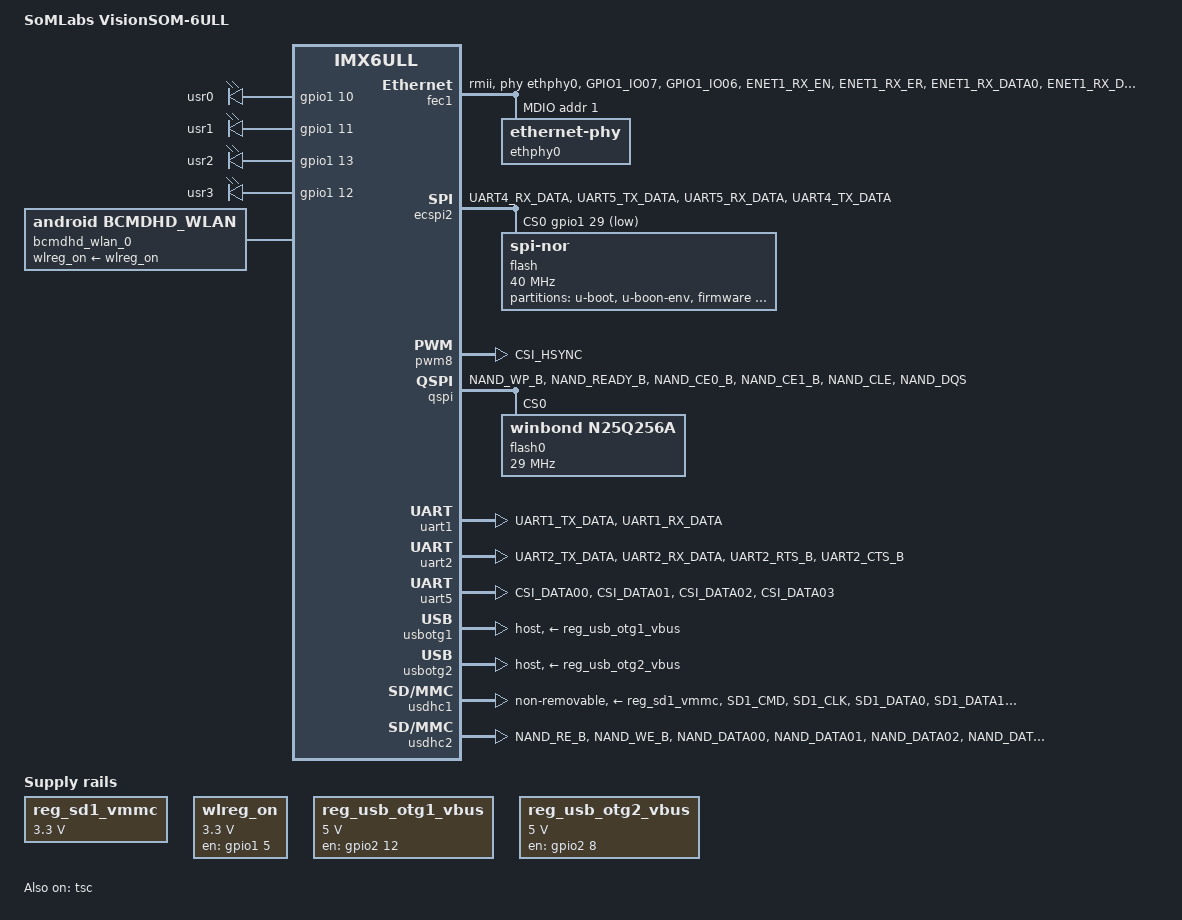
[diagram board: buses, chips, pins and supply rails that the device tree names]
/*
 * Copyright (C) 2015 Freescale Semiconductor, Inc.
 *
 * This program is free software; you can redistribute it and/or modify
 * it under the terms of the GNU General Public License version 2 as
 * published by the Free Software Foundation.
 */

/dts-v1/;

#include <dt-bindings/input/input.h>
#include "imx6ull.dtsi"

/ {
	model = "SoMLabs VisionSOM-6ULL";
	compatible = "fsl,imx6ull-14x14-evk", "fsl,imx6ull";

	chosen {
		stdout-path = &uart1;
	};

	leds {
		compatible = "gpio-leds";

		usr0 {
				label = "usr0";
				gpios = <&gpio1 10 GPIO_ACTIVE_HIGH>;
				linux,default-trigger = "heartbeat";
		};
	  
		usr1 {
				label = "usr1";
				gpios = <&gpio1 11 GPIO_ACTIVE_HIGH>;
				linux,default-trigger = "mmc0";
		};

		usr2 {
				label = "usr2";
				gpios = <&gpio1 13 GPIO_ACTIVE_HIGH>;
				linux,default-trigger = "mmc1";
		};

		usr3 {
				label = "usr3";
				gpios = <&gpio1 12 GPIO_ACTIVE_HIGH>;
		};
			
	};

/*
	backlight {
		compatible = "pwm-backlight";
		pwms = <&pwm8 0 5000000>;
		brightness-levels = <0 4 8 16 32 64 128 255>;
		default-brightness-level = <6>;
//		status = "okay";
	};
*/
	pxp_v4l2 {
		compatible = "fsl,imx6ul-pxp-v4l2", "fsl,imx6sx-pxp-v4l2", "fsl,imx6sl-pxp-v4l2";
		status = "okay";
	};

	regulators {
		compatible = "simple-bus";
		#address-cells = <1>;
		#size-cells = <0>;

		reg_sd1_vmmc: regulator@1 {
			compatible = "regulator-fixed";
			regulator-name = "VSD_3V3";
			regulator-min-microvolt = <3300000>;
			regulator-max-microvolt = <3300000>;
			enable-active-high;
			regulator-always-on;
		};

		wlreg_on: fixedregulator@100 {
			compatible = "regulator-fixed";
			regulator-min-microvolt = <3300000>;
			regulator-max-microvolt = <3300000>;
			regulator-name = "wlreg_on";
			gpio = <&gpio1 5 0>;
			startup-delay-us = <100>;
			enable-active-high;
		};
/*
		btreg_on: fixedregulator@101 {
			compatible = "regulator-fixed";
			regulator-min-microvolt = <3300000>;
			regulator-max-microvolt = <3300000>;
			regulator-name = "btreg_on";
			gpio = <&gpio4 17 0>;		//todo
			startup-delay-us = <100>;
			enable-active-high;
		};
*/
		reg_usb_otg1_vbus: regulator@2 {
			compatible = "regulator-fixed";
			reg = <2>;
			pinctrl-names = "default";
			pinctrl-0 = <&pinctrl_usb_otg1>;
			regulator-name = "usb_otg1_vbus";
			regulator-min-microvolt = <5000000>;
			regulator-max-microvolt = <5000000>;
			gpio = <&gpio2 12 GPIO_ACTIVE_HIGH>;
			enable-active-high;
		};

		reg_usb_otg2_vbus: regulator@3 {
			compatible = "regulator-fixed";
			reg = <3>;
			pinctrl-names = "default";
			pinctrl-0 = <&pinctrl_usb_otg2>;
			regulator-name = "usb_otg2_vbus";
			regulator-min-microvolt = <5000000>;
			regulator-max-microvolt = <5000000>;
			gpio = <&gpio2 8 GPIO_ACTIVE_HIGH>;
			enable-active-high;
		};


	};

	bcmdhd_wlan_0: bcmdhd_wlan@0 {
		compatible = "android,bcmdhd_wlan";
		/*gpios = <&gpio2 17 0>; //wifi_wake_host*/
		wlreg_on-supply = <&wlreg_on>;
	};
	
};

&cpu0 {
	arm-supply = <&reg_arm>;
	soc-supply = <&reg_soc>;
};

&clks {
	assigned-clocks = <&clks IMX6UL_CLK_PLL4_AUDIO_DIV>;
	assigned-clock-rates = <786432000>;
};

&fec1 {
	pinctrl-names = "default";
	pinctrl-0 = <&pinctrl_enet1>;
	phy-mode = "rmii";
	phy-handle = <&ethphy0>;
	status = "okay";
	
	mdio {
		#address-cells = <1>;
		#size-cells = <0>;

		ethphy0: ethernet-phy@1 {
			reg = <1>;
			micrel,led-mode = <1>;
			clocks = <&clks IMX6UL_CLK_ENET2_REF>;
			clock-names = "rmii-ref";
		};
	};
	
};

&ecspi2 {
	pinctrl-names = "default";
	pinctrl-0 = <&pinctrl_ecspi2>;
	cs-gpios = <
		&gpio1 29 GPIO_ACTIVE_LOW
	>;
	status = "okay";

	flash@0 {
		#address-cells = <1>;
		#size-cells = <1>;
		status = "okay";
		compatible = "jedec,spi-nor";
		spi-max-frequency = <40000000>;
		reg = <0>;

		partition@0 {
			label = "u-boot";
			reg = <0x000000 0x0c0000>;
		};
		partition@1 {
			label = "u-boon-env";
			reg = <0x0c0000 0x040000>;
		};
		partition@2 {
			label = "firmware";
			reg = <0x100000 0xF00000>;
		};
		partition@3 {
			label = "factory";
			reg = <0x000000 0x1000000>;
		};

	};
};

&gpc {
	fsl,cpu_pupscr_sw2iso = <0x1>;
	fsl,cpu_pupscr_sw = <0x0>;
	fsl,cpu_pdnscr_iso2sw = <0x1>;
	fsl,cpu_pdnscr_iso = <0x1>;
	fsl,ldo-bypass = <0>; /* DCDC, ldo-enable */
};

/*
&i2c1 {
	clock-frequency = <100000>;
	pinctrl-names = "default";
	pinctrl-0 = <&pinctrl_i2c1>;
	//status = "okay";

};

&i2c2 {
	clock_frequency = <100000>;
	pinctrl-names = "default";
	pinctrl-0 = <&pinctrl_i2c2>;
	//status = "okay";
};
*/

&iomuxc {
	pinctrl-names = "default";
	pinctrl-0 = <&pinctrl_hog_1>;
	imx6ul-evk {
		pinctrl_hog_1: hoggrp-1 {
			fsl,pins = <
				MX6UL_PAD_JTAG_MOD__GPIO1_IO10		0x17099	/* LED 0 */
				MX6UL_PAD_JTAG_TMS__GPIO1_IO11		0x17099	/* LED 1 */
				MX6UL_PAD_JTAG_TDI__GPIO1_IO13		0x17099	/* LED 2 */
				MX6UL_PAD_JTAG_TDO__GPIO1_IO12		0x17099	/* LED 3 */

				/* MC60E module pwr control GPIOs */
				MX6UL_PAD_ENET2_TX_DATA0__GPIO2_IO11	0x17059	/* modem ONKEY signal */
				MX6UL_PAD_ENET2_RX_DATA1__GPIO2_IO09	0x17059	/* Dc/DC enable signal */

				/* MX6UL_PAD_ENET2_TX_DATA1__USB_OTG2_PWR	0x17099
				MX6UL_PAD_ENET2_RX_DATA0__USB_OTG1_PWR	0x17099
				*/
			>;
		};

		pinctrl_enet1: enet1grp {
			fsl,pins = <
				MX6UL_PAD_GPIO1_IO07__ENET1_MDC		0x1b0b0
				MX6UL_PAD_GPIO1_IO06__ENET1_MDIO	0x1F829

				MX6UL_PAD_ENET1_RX_EN__ENET1_RX_EN	0x1b0b0
				MX6UL_PAD_ENET1_RX_ER__ENET1_RX_ER	0x1b0b0
				MX6UL_PAD_ENET1_RX_DATA0__ENET1_RDATA00	0x1b0b0
				MX6UL_PAD_ENET1_RX_DATA1__ENET1_RDATA01	0x1b0b0
				MX6UL_PAD_ENET1_TX_EN__ENET1_TX_EN	0x1b0b0
				MX6UL_PAD_ENET1_TX_DATA0__ENET1_TDATA00	0x1b0b0
				MX6UL_PAD_ENET1_TX_DATA1__ENET1_TDATA01	0x1b0b0
				MX6UL_PAD_ENET1_TX_CLK__ENET1_REF_CLK1	0x400010a9
			>;
		};

		/*
		pinctrl_i2c1: i2c1grp {
			fsl,pins = <
				MX6UL_PAD_UART4_TX_DATA__I2C1_SCL 0x4001b8b0
				MX6UL_PAD_UART4_RX_DATA__I2C1_SDA 0x4001b8b0
			>;
		};

		pinctrl_i2c2: i2c2grp {
			fsl,pins = <
				MX6UL_PAD_UART5_TX_DATA__I2C2_SCL 0x4001b8b0
				MX6UL_PAD_UART5_RX_DATA__I2C2_SDA 0x4001b8b0
			>;
		}; 
		*/

		pinctrl_lcdif_dat: lcdifdatgrp {
			fsl,pins = <
				MX6UL_PAD_LCD_DATA00__LCDIF_DATA00  0x79
				MX6UL_PAD_LCD_DATA01__LCDIF_DATA01  0x79
				MX6UL_PAD_LCD_DATA02__LCDIF_DATA02  0x79
				MX6UL_PAD_LCD_DATA03__LCDIF_DATA03  0x79
				MX6UL_PAD_LCD_DATA04__LCDIF_DATA04  0x79
				MX6UL_PAD_LCD_DATA05__LCDIF_DATA05  0x79
				MX6UL_PAD_LCD_DATA06__LCDIF_DATA06  0x79
				MX6UL_PAD_LCD_DATA07__LCDIF_DATA07  0x79
				MX6UL_PAD_LCD_DATA08__LCDIF_DATA08  0x79
				MX6UL_PAD_LCD_DATA09__LCDIF_DATA09  0x79
				MX6UL_PAD_LCD_DATA10__LCDIF_DATA10  0x79
				MX6UL_PAD_LCD_DATA11__LCDIF_DATA11  0x79
				MX6UL_PAD_LCD_DATA12__LCDIF_DATA12  0x79
				MX6UL_PAD_LCD_DATA13__LCDIF_DATA13  0x79
				MX6UL_PAD_LCD_DATA14__LCDIF_DATA14  0x79
				MX6UL_PAD_LCD_DATA15__LCDIF_DATA15  0x79
				MX6UL_PAD_LCD_DATA16__LCDIF_DATA16  0x79
				MX6UL_PAD_LCD_DATA17__LCDIF_DATA17  0x79
				MX6UL_PAD_LCD_DATA18__LCDIF_DATA18  0x79
				MX6UL_PAD_LCD_DATA19__LCDIF_DATA19  0x79
				MX6UL_PAD_LCD_DATA20__LCDIF_DATA20  0x79
				MX6UL_PAD_LCD_DATA21__LCDIF_DATA21  0x79
				MX6UL_PAD_LCD_DATA22__LCDIF_DATA22  0x79
				MX6UL_PAD_LCD_DATA23__LCDIF_DATA23  0x79
			>;
		};

		pinctrl_lcdif_ctrl: lcdifctrlgrp {
			fsl,pins = <
				MX6UL_PAD_LCD_CLK__LCDIF_CLK	    0x79
				MX6UL_PAD_LCD_ENABLE__LCDIF_ENABLE  0x79
				MX6UL_PAD_LCD_HSYNC__LCDIF_HSYNC    0x79
				MX6UL_PAD_LCD_VSYNC__LCDIF_VSYNC    0x79
				/* used for lcd reset */
				MX6UL_PAD_LCD_RESET__GPIO3_IO04  	0x79
				/* used for LCD power on */
				MX6UL_PAD_JTAG_TRST_B__GPIO1_IO15   0x79
			>;
		};

		pinctrl_pwm8: pwm8grp {
			fsl,pins = <
				MX6UL_PAD_CSI_HSYNC__PWM8_OUT       0x110b0
			>;
		};

		pinctrl_qspi: qspigrp {
			fsl,pins = <
				MX6UL_PAD_NAND_WP_B__QSPI_A_SCLK      0x70a1
				MX6UL_PAD_NAND_READY_B__QSPI_A_DATA00 0x70a1
				MX6UL_PAD_NAND_CE0_B__QSPI_A_DATA01   0x70a1
				MX6UL_PAD_NAND_CE1_B__QSPI_A_DATA02   0x70a1
				MX6UL_PAD_NAND_CLE__QSPI_A_DATA03     0x70a1
				MX6UL_PAD_NAND_DQS__QSPI_A_SS0_B      0x70a1
			>;
		};

		pinctrl_ecspi2: ecspi2grp {
			fsl,pins = <
				MX6UL_PAD_UART4_RX_DATA__GPIO1_IO29	0x0b0b0 /* CSPI_SS */
				MX6UL_PAD_UART5_TX_DATA__ECSPI2_MOSI	0x0b0b0 /* CSPI_MOSI */
				MX6UL_PAD_UART5_RX_DATA__ECSPI2_MISO	0x0b0b0 /* CSPI_MISO */
				MX6UL_PAD_UART4_TX_DATA__ECSPI2_SCLK	0x0b0b0 /* CSPI_SCLK */
			>;
		};

		pinctrl_tsc: tscgrp {
			fsl,pins = <
				MX6UL_PAD_GPIO1_IO01__GPIO1_IO01	0xb0
				MX6UL_PAD_GPIO1_IO02__GPIO1_IO02	0xb0
				MX6UL_PAD_GPIO1_IO03__GPIO1_IO03	0xb0
				MX6UL_PAD_GPIO1_IO04__GPIO1_IO04	0xb0
			>;
		};

		pinctrl_uart1: uart1grp {
			fsl,pins = <
				MX6UL_PAD_UART1_TX_DATA__UART1_DCE_TX 0x1b0b1
				MX6UL_PAD_UART1_RX_DATA__UART1_DCE_RX 0x1b0b1
			>;
		};

		/*
		pinctrl_uart4: uart4grp {
			fsl,pins = <
				MX6UL_PAD_UART4_TX_DATA__UART4_DCE_TX	0x1b0b1
				MX6UL_PAD_UART4_RX_DATA__UART4_DCE_RX	0x1b0b1
				//MX6UL_PAD_CSI_DATA02__UART5_DCE_RTS	0x1b0b1
				//MX6UL_PAD_CSI_DATA03__UART5_DCE_CTS	0x1b0b1
			>;
		};
		*/

		pinctrl_uart5: uart5grp {
			fsl,pins = <
				MX6UL_PAD_CSI_DATA00__UART5_DCE_TX	0x1b0b1
				MX6UL_PAD_CSI_DATA01__UART5_DCE_RX	0x1b0b1
				MX6UL_PAD_CSI_DATA02__UART5_DCE_RTS	0x1b0b1
				MX6UL_PAD_CSI_DATA03__UART5_DCE_CTS	0x1b0b1
			>;
		};

		pinctrl_usdhc1: usdhc1grp {
			fsl,pins = <
				MX6UL_PAD_SD1_CMD__USDHC1_CMD     0x17059
				MX6UL_PAD_SD1_CLK__USDHC1_CLK     0x10071
				MX6UL_PAD_SD1_DATA0__USDHC1_DATA0 0x17059
				MX6UL_PAD_SD1_DATA1__USDHC1_DATA1 0x17059
				MX6UL_PAD_SD1_DATA2__USDHC1_DATA2 0x17059
				MX6UL_PAD_SD1_DATA3__USDHC1_DATA3 0x17059
			>;
		};

		pinctrl_usdhc1_100mhz: usdhc1grp100mhz {
			fsl,pins = <
				MX6UL_PAD_SD1_CMD__USDHC1_CMD     0x170b9
				MX6UL_PAD_SD1_CLK__USDHC1_CLK     0x100b9
				MX6UL_PAD_SD1_DATA0__USDHC1_DATA0 0x170b9
				MX6UL_PAD_SD1_DATA1__USDHC1_DATA1 0x170b9
				MX6UL_PAD_SD1_DATA2__USDHC1_DATA2 0x170b9
				MX6UL_PAD_SD1_DATA3__USDHC1_DATA3 0x170b9
			>;
		};

		pinctrl_usdhc1_200mhz: usdhc1grp200mhz {
			fsl,pins = <
				MX6UL_PAD_SD1_CMD__USDHC1_CMD     0x170f9
				MX6UL_PAD_SD1_CLK__USDHC1_CLK     0x100f9
				MX6UL_PAD_SD1_DATA0__USDHC1_DATA0 0x170f9
				MX6UL_PAD_SD1_DATA1__USDHC1_DATA1 0x170f9
				MX6UL_PAD_SD1_DATA2__USDHC1_DATA2 0x170f9
				MX6UL_PAD_SD1_DATA3__USDHC1_DATA3 0x170f9
			>;
		};

		pinctrl_wifi: wifigrp {
			fsl,pins = <
				MX6UL_PAD_GPIO1_IO05__GPIO1_IO05	0x17059 /* WLAN reg enable */
			>;
		};

		pinctrl_bt: btgrp {
			fsl,pins = <
				MX6UL_PAD_CSI_MCLK__GPIO4_IO17		0x17059 /* BT reg enable */
			>;
		};

		pinctrl_usdhc2: usdhc2grp {
			fsl,pins = <
				MX6UL_PAD_NAND_RE_B__USDHC2_CLK     0x10069
				MX6UL_PAD_NAND_WE_B__USDHC2_CMD     0x17059
				MX6UL_PAD_NAND_DATA00__USDHC2_DATA0 0x17059
				MX6UL_PAD_NAND_DATA01__USDHC2_DATA1 0x17059
				MX6UL_PAD_NAND_DATA02__USDHC2_DATA2 0x17059
				MX6UL_PAD_NAND_DATA03__USDHC2_DATA3 0x17059
			>;
		};

		pinctrl_usdhc2_8bit: usdhc2grp_8bit {
			fsl,pins = <
				MX6UL_PAD_NAND_RE_B__USDHC2_CLK     0x10069
				MX6UL_PAD_NAND_WE_B__USDHC2_CMD     0x17059
				MX6UL_PAD_NAND_DATA00__USDHC2_DATA0 0x17059
				MX6UL_PAD_NAND_DATA01__USDHC2_DATA1 0x17059
				MX6UL_PAD_NAND_DATA02__USDHC2_DATA2 0x17059
				MX6UL_PAD_NAND_DATA03__USDHC2_DATA3 0x17059
				MX6UL_PAD_NAND_DATA04__USDHC2_DATA4 0x17059
				MX6UL_PAD_NAND_DATA05__USDHC2_DATA5 0x17059
				MX6UL_PAD_NAND_DATA06__USDHC2_DATA6 0x17059
				MX6UL_PAD_NAND_DATA07__USDHC2_DATA7 0x17059
			>;
		};

		pinctrl_usdhc2_8bit_100mhz: usdhc2grp_8bit_100mhz {
			fsl,pins = <
				MX6UL_PAD_NAND_RE_B__USDHC2_CLK     0x100b9
				MX6UL_PAD_NAND_WE_B__USDHC2_CMD     0x170b9
				MX6UL_PAD_NAND_DATA00__USDHC2_DATA0 0x170b9
				MX6UL_PAD_NAND_DATA01__USDHC2_DATA1 0x170b9
				MX6UL_PAD_NAND_DATA02__USDHC2_DATA2 0x170b9
				MX6UL_PAD_NAND_DATA03__USDHC2_DATA3 0x170b9
				MX6UL_PAD_NAND_DATA04__USDHC2_DATA4 0x170b9
				MX6UL_PAD_NAND_DATA05__USDHC2_DATA5 0x170b9
				MX6UL_PAD_NAND_DATA06__USDHC2_DATA6 0x170b9
				MX6UL_PAD_NAND_DATA07__USDHC2_DATA7 0x170b9
			>;
		};

		pinctrl_usdhc2_8bit_200mhz: usdhc2grp_8bit_200mhz {
			fsl,pins = <
				MX6UL_PAD_NAND_RE_B__USDHC2_CLK     0x100f9
				MX6UL_PAD_NAND_WE_B__USDHC2_CMD     0x170f9
				MX6UL_PAD_NAND_DATA00__USDHC2_DATA0 0x170f9
				MX6UL_PAD_NAND_DATA01__USDHC2_DATA1 0x170f9
				MX6UL_PAD_NAND_DATA02__USDHC2_DATA2 0x170f9
				MX6UL_PAD_NAND_DATA03__USDHC2_DATA3 0x170f9
				MX6UL_PAD_NAND_DATA04__USDHC2_DATA4 0x170f9
				MX6UL_PAD_NAND_DATA05__USDHC2_DATA5 0x170f9
				MX6UL_PAD_NAND_DATA06__USDHC2_DATA6 0x170f9
				MX6UL_PAD_NAND_DATA07__USDHC2_DATA7 0x170f9
			>;
		};
		
		pinctrl_gpmi_nand_1: gpmi-nand-1 {
			fsl,pins = <
				MX6UL_PAD_NAND_CLE__RAWNAND_CLE         0xb0b1
				MX6UL_PAD_NAND_ALE__RAWNAND_ALE         0xb0b1
				MX6UL_PAD_NAND_WP_B__RAWNAND_WP_B       0xb0b1
				MX6UL_PAD_NAND_READY_B__RAWNAND_READY_B 0xb000
				MX6UL_PAD_NAND_CE0_B__RAWNAND_CE0_B     0xb0b1
				MX6UL_PAD_NAND_RE_B__RAWNAND_RE_B       0xb0b1
				MX6UL_PAD_NAND_WE_B__RAWNAND_WE_B       0xb0b1
				MX6UL_PAD_NAND_DATA00__RAWNAND_DATA00   0xb0b1
				MX6UL_PAD_NAND_DATA01__RAWNAND_DATA01   0xb0b1
				MX6UL_PAD_NAND_DATA02__RAWNAND_DATA02   0xb0b1
				MX6UL_PAD_NAND_DATA03__RAWNAND_DATA03   0xb0b1
				MX6UL_PAD_NAND_DATA04__RAWNAND_DATA04   0xb0b1
				MX6UL_PAD_NAND_DATA05__RAWNAND_DATA05   0xb0b1
				MX6UL_PAD_NAND_DATA06__RAWNAND_DATA06   0xb0b1
				MX6UL_PAD_NAND_DATA07__RAWNAND_DATA07   0xb0b1
			>;
		};

		pinctrl_wdog: wdoggrp {
			fsl,pins = <
				MX6UL_PAD_ENET2_RX_ER__WDOG1_WDOG_ANY    0x30b0
			>;
		};

		pinctrl_usb_otg1: usbotg1grp {
			fsl,pins = <
				MX6UL_PAD_ENET2_TX_DATA1__GPIO2_IO12    0x10b0
			>;
		};

		pinctrl_usb_otg2: usbotg2grp {
			fsl,pins = <
				MX6UL_PAD_ENET2_RX_DATA0__GPIO2_IO08    0x10b0
			>;
		};

		pinctrl_uart2: uart2grp {
			fsl,pins = <
				MX6UL_PAD_UART2_TX_DATA__UART2_DCE_TX	0x1b0b1
				MX6UL_PAD_UART2_RX_DATA__UART2_DCE_RX	0x1b0b1
				MX6UL_PAD_UART2_RTS_B__UART2_DCE_RTS	0x1b0b1
				MX6UL_PAD_UART2_CTS_B__UART2_DCE_CTS	0x1b0b1
			>;
		};


	};
};

&pwm8 {
	pinctrl-names = "default";
	pinctrl-0 = <&pinctrl_pwm8>;
	status = "okay";
};

&qspi {
	pinctrl-names = "default";
	pinctrl-0 = <&pinctrl_qspi>;
	status = "okay";
	ddrsmp=<0>;

	flash0: n25q256a@0 {
		#address-cells = <1>;
		#size-cells = <1>;
		compatible = "winbond,n25q256a";
		spi-max-frequency = <29000000>;
		spi-nor,ddr-quad-read-dummy = <6>;
		reg = <0>;
	};
};

&tsc {
	pinctrl-names = "default";
	pinctrl-0 = <&pinctrl_tsc>;
	xnur-gpio = <&gpio1 3 GPIO_ACTIVE_LOW>;
	measure-delay-time = <0xffff>;
	pre-charge-time = <0xfff>;
	status = "okay";
};

&uart1 {
	pinctrl-names = "default";
	pinctrl-0 = <&pinctrl_uart1>;
	status = "okay";
};

&uart2 {
	pinctrl-names = "default";
	pinctrl-0 = <&pinctrl_uart2>;
	uart-has-rtscts;
	status = "okay";
};

/*
&uart4 {
	pinctrl-names = "default";
	pinctrl-0 = <&pinctrl_uart4>;
	//uart-has-rtscts;
	status = "okay";
};
*/

&uart5 {
	pinctrl-names = "default";
	pinctrl-0 = <&pinctrl_uart5>;
	uart-has-rtscts;
	dma-names = "", "";
	status = "okay";
};

&usbotg1 {
    vbus-supply = <&reg_usb_otg1_vbus>;
	dr_mode = "host";
	status = "okay";
};

&usbotg2 {
    vbus-supply = <&reg_usb_otg2_vbus>;
	dr_mode = "host";
	status = "okay";
};

&usbphy1 {
	tx-d-cal = <0x5>;
};

&usbphy2 {
	tx-d-cal = <0x5>;
};

&usdhc1 {
	pinctrl-names = "default";
	pinctrl-0 = <&pinctrl_usdhc1 &pinctrl_wifi>;
	no-1-8-v;
	non-removable;
	cd-post;
	pm-ignore-notify;
	wifi-host; /* add hook for SD card detect mechanism for BCMDHD driver */
	keep-power-in-suspend;
	enable-sdio-wakeup;
	vmmc-supply = <&reg_sd1_vmmc>;
	status = "okay";
};

&usdhc2 {
	pinctrl-names = "default";
	pinctrl-0 = <&pinctrl_usdhc2>;
	status = "okay";
};

&wdog1 {
	pinctrl-names = "default";
	pinctrl-0 = <&pinctrl_wdog>;
	fsl,wdog_b;
};

&gpmi {
	pinctrl-names = "default";
	pinctrl-0 = <&pinctrl_gpmi_nand_1>;
	status = "disabled";
	nand-on-flash-bbt;
};
